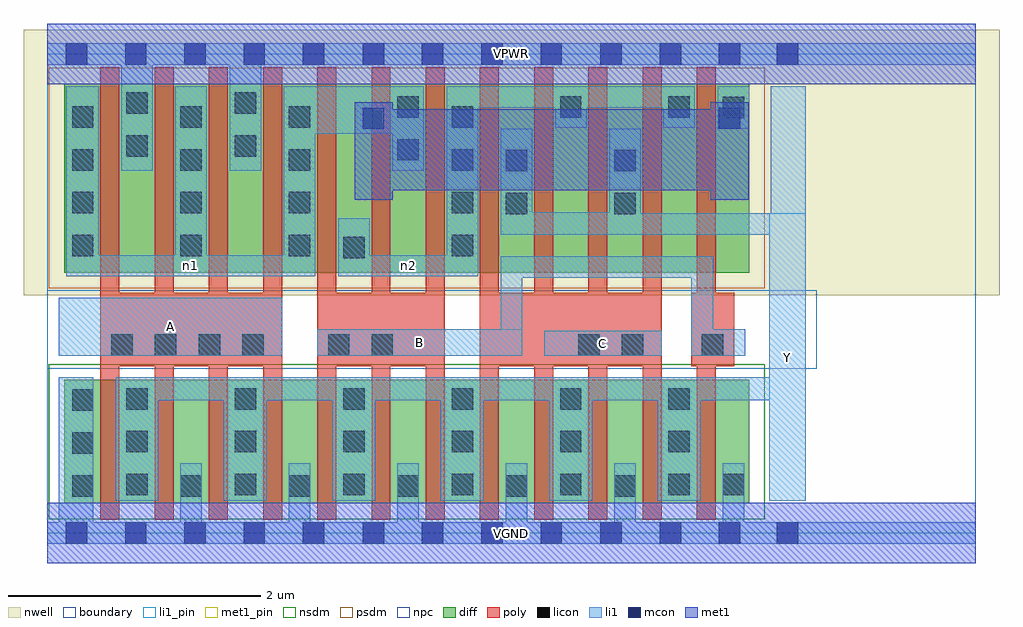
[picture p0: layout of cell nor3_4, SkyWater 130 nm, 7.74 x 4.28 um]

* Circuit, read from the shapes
.subckt nor3_4 A B C VGND VPWR Y n1 n2
XM1 Y A VGND VSUBS sky130_fd_pr__nfet_01v8 w=0.98 l=0.15 m=4
XM2 Y B VGND VSUBS sky130_fd_pr__nfet_01v8 w=0.98 l=0.15 m=4
XM3 VGND C Y VSUBS sky130_fd_pr__nfet_01v8 w=0.98 l=0.15 m=4
XM4 VPWR A n1 n3 sky130_fd_pr__pfet_01v8 w=1.5 l=0.15 m=4
XM5 n2 B n1 n3 sky130_fd_pr__pfet_01v8 w=1.5 l=0.15 m=4
XM6 Y C n2 n3 sky130_fd_pr__pfet_01v8 w=1.5 l=0.15 m=4
.ends

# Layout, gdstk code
import gdstk
lib = gdstk.Library(unit=1e-6, precision=1e-09)
def R(c, l, rs):  # rectangles x0, y0, x1, y1
    for r in rs: c.add(gdstk.rectangle(r[:2], r[2:], *l))
def A(c, l, x, y, w, h, nx, ny, dx, dy):  # array of equal rectangles
    R(c, l, [(x+i*dx, y+j*dy, x+i*dx+w, y+j*dy+h) for i in range(nx) for j in range(ny)])
nwell = (64, 20)
diff = (65, 20)
poly = (66, 20)
licon = (66, 44)
li1_pin = (67, 16)
li1 = (67, 20)
mcon = (67, 44)
met1_pin = (68, 16)
met1 = (68, 20)
nsdm = (93, 44)
psdm = (94, 20)
npc = (95, 20)
boundary = (235, 4)

nor3_4 = lib.new_cell('nor3_4')
R(nor3_4, nwell, [(-0.19,1.885,7.55,3.99), (0,1.885,7.36,3.99)])
R(nor3_4, diff, [(0.135,0.235,5.565,1.215), (0.135,2.065,5.565,3.565)])
A(nor3_4, poly, 0.42, 0.105, 0.15, 3.59, 12, 1, 0.43, 0)
R(nor3_4, poly, [(0.42,1.325,1.86,1.905), (2.14,1.325,3.15,1.905), (3.43,1.325,4.87,1.905), (5.105,1.325,5.445,1.905)])
A(nor3_4, licon, 0.195, 0.29, 0.17, 0.17, 6, 1, 0.86, 0)
A(nor3_4, licon, 0.625, 0.3, 0.17, 0.17, 6, 3, 0.86, 0.34)
A(nor3_4, licon, 0.195, 2.195, 0.17, 0.17, 3, 4, 0.86, 0.34)
A(nor3_4, licon, 3.205, 2.195, 0.17, 0.17, 1, 4, 0, 0.34)
R(nor3_4, licon, [(5.355,0.3,5.525,0.47), (0.195,0.63,0.365,0.8), (0.195,0.97,0.365,1.14), (0.505,1.405,0.675,1.575), (0.85,1.405,1.02,1.575), (1.2,1.405,1.37,1.575), (1.545,1.405,1.715,1.575), (2.225,1.405,2.395,1.575), (2.57,1.405,2.74,1.575), (4.21,1.405,4.38,1.575), (4.555,1.405,4.725,1.575), (5.19,1.405,5.36,1.575), (2.345,2.18,2.515,2.35), (3.635,2.53,3.805,2.7), (4.495,2.53,4.665,2.7), (3.635,2.87,3.805,3.04), (4.495,2.87,4.665,3.04), (2.775,2.955,2.945,3.125), (0.625,2.985,0.795,3.155), (1.485,2.985,1.655,3.155), (5.355,3.29,5.525,3.46), (2.775,3.295,2.945,3.465), (4.065,3.295,4.235,3.465), (4.925,3.295,5.095,3.465), (0.625,3.325,0.795,3.495), (1.485,3.325,1.655,3.495)])
R(nor3_4, li1_pin, [(5.725,0.255,6.015,2.535), (0.09,1.405,1.86,1.865), (2.14,1.405,3.765,1.615), (3.94,1.405,4.87,1.605)])
A(nor3_4, li1, 1.055, -0.085, 0.17, 0.64, 6, 1, 0.86, 0)
A(nor3_4, li1, 0.54, 0.255, 0.34, 0.98, 6, 1, 0.86, 0)
R(nor3_4, li1, [(0,-0.085,7.36,0.085), (0.09,-0.085,0.365,1.235), (5.725,0.255,6.015,2.535), (5.735,0.255,6.015,3.545), (0.54,1.055,6.015,1.235), (0.09,1.405,1.86,1.865), (2.14,1.405,3.765,1.615), (3.595,1.405,3.765,2.195), (3.94,1.405,4.87,1.605), (5.105,1.405,5.535,1.615), (5.105,1.405,5.28,2.195), (3.595,2.025,5.28,2.195), (0.15,2.035,2.125,2.205), (0.15,2.035,0.405,3.545), (1.015,2.035,1.265,3.545), (1.875,2.035,2.125,3.545), (2.305,2.035,3.415,2.205), (2.305,2.035,2.555,2.495), (3.165,2.035,3.415,3.545), (3.595,2.365,6.015,2.535), (3.595,2.365,3.845,3.205), (3.595,2.365,4.705,2.545), (4.455,2.365,4.705,3.205), (0.585,2.875,0.835,3.885), (1.445,2.875,1.695,3.885), (2.735,2.875,2.985,3.545), (1.875,3.165,2.985,3.545), (5.315,3.205,5.565,3.545), (4.025,3.215,4.275,3.545), (4.885,3.215,5.135,3.545), (3.165,3.375,5.135,3.545), (0,3.715,7.36,3.885)])
A(nor3_4, mcon, 0.145, -0.085, 0.17, 0.17, 5, 2, 0.47, 3.8)
A(nor3_4, mcon, 2.5, -0.085, 0.17, 0.17, 4, 2, 0.47, 3.8)
A(nor3_4, mcon, 4.385, -0.085, 0.17, 0.17, 3, 2, 0.47, 3.8)
R(nor3_4, mcon, [(5.785,-0.085,5.955,0.085), (2.5,3.205,2.67,3.375), (5.325,3.205,5.495,3.375), (5.785,3.715,5.955,3.885)])
R(nor3_4, met1_pin, [(0,-0.24,7.36,0.24), (0,3.56,7.36,4.04)])
R(nor3_4, met1, [(0,-0.24,7.36,0.24), (2.435,2.645,2.74,3.415), (5.26,2.645,5.56,3.415), (2.435,2.72,5.56,3.36), (0,3.56,7.36,4.04)])
R(nor3_4, nsdm, [(0.01,0.11,5.69,1.34)])
R(nor3_4, psdm, [(0.01,1.94,5.69,3.69)])
R(nor3_4, npc, [(0,1.305,6.1,1.925)])
R(nor3_4, boundary, [(0,0,7.36,3.8)])
nor3_4.add(gdstk.Label('A', (0.975,1.635), layer=67, texttype=5))
nor3_4.add(gdstk.Label('B', (2.952,1.51), layer=67, texttype=5))
nor3_4.add(gdstk.Label('C', (4.405,1.505), layer=67, texttype=5))
nor3_4.add(gdstk.Label('Y', (5.87,1.395), layer=67, texttype=5))
nor3_4.add(gdstk.Label('n1', (1.137,2.12), layer=67, texttype=5))
nor3_4.add(gdstk.Label('n2', (2.86,2.12), layer=67, texttype=5))
nor3_4.add(gdstk.Label('VPWR', (3.68,3.8), layer=68, texttype=5))
nor3_4.add(gdstk.Label('VGND', (3.68,0), layer=68, texttype=5))
nor3_4.add(gdstk.Label('A', (0.975,1.635), layer=67, texttype=16))
nor3_4.add(gdstk.Label('B', (2.952,1.51), layer=67, texttype=16))
nor3_4.add(gdstk.Label('C', (4.405,1.505), layer=67, texttype=16))
nor3_4.add(gdstk.Label('Y', (5.87,1.395), layer=67, texttype=16))
nor3_4.add(gdstk.Label('VPWR', (3.68,3.8), layer=68, texttype=16))
nor3_4.add(gdstk.Label('VGND', (3.68,0), layer=68, texttype=16))

lib.write_gds('nor3_4.gds')
